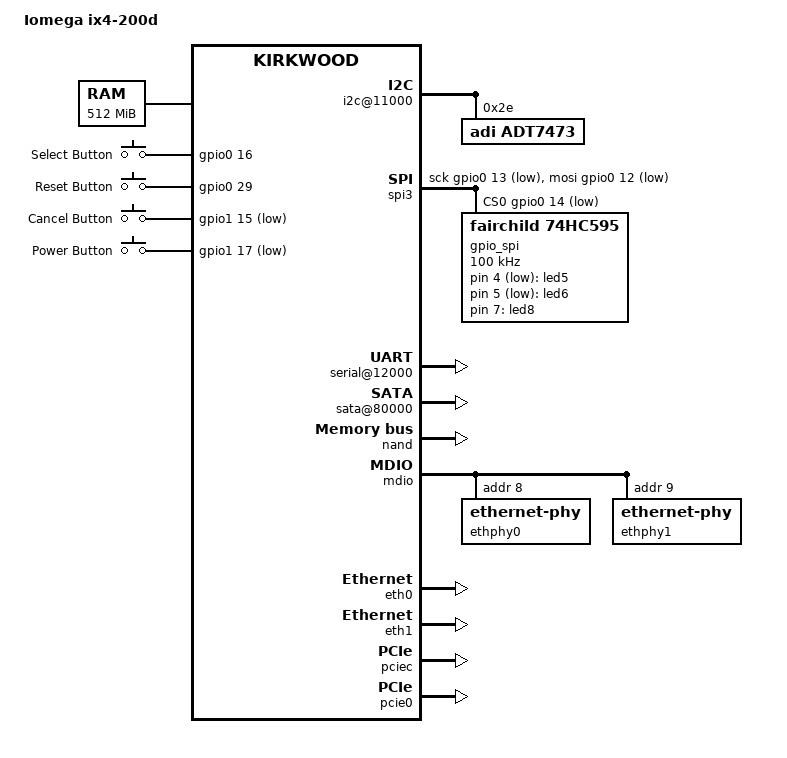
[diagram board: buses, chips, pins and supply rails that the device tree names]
/*
 *  Device tree file for the Iomega ix4-200d
 *
 * Copyright (c) 2016, bodhi <mibodhi at gmail.com>
 * Copyright (c) 2015, DaMacc
 *
*/

/dts-v1/;

#include <dt-bindings/input/input.h>
#include <dt-bindings/gpio/gpio.h>
#include "kirkwood.dtsi"      
#include "kirkwood-6281.dtsi" 

/ {
	model = "Iomega ix4-200d";
	compatible = "marvell,rd88f6281-a", "marvell,rd88f6281", "marvell,kirkwood-88f6281", "marvell,kirkwood";

memory {                                    
        device_type = "memory";             
        reg = <0x00000000 0x20000000>;      
};                                          
                                            
chosen {                                    
        bootargs = "console=ttyS0,115200n8 earlyprintk";
        stdout-path = &uart0;               
};                                          
                                            
ocp@f1000000 {
	pinctrl: pin-controller@10000
	{
		spi_pin1: spi-pin1
		{
			marvell,pins = "mpp12";
			marvell,function = "gpio";
		};

		spi_pin2: spi-pin2
                {
                        marvell,pins = "mpp13";
                        marvell,function = "gpio";
                };

		select_button_pin: select-button-pin
                {
                        marvell,pins = "mpp16";
                        marvell,function = "gpio";
                };

		reset_button_pin: reset-button-pin
                {
                        marvell,pins = "mpp29";
                        marvell,function = "gpio";
                };

		cancel_button_pin: cancel-button-pin
                {
                        marvell,pins = "mpp47";
                        marvell,function = "gpio";
                };

		power_button_pin: power-button-pin
                {
                        marvell,pins = "mpp49";
                        marvell,function = "gpio";
                };
	};

	i2c@11000 {                                
		status = "okay";                   
						   
		adt7473@2e {                       
			compatible = "adi,adt7473";
			reg = <0x2e>;              
		};                                 
	};

	spi3 {
		compatible = "spi-gpio";
		status = "okay";
		gpio-sck = <&gpio0 13 GPIO_ACTIVE_LOW>;
		gpio-mosi = <&gpio0 12 GPIO_ACTIVE_LOW>;
		cs-gpios = <&gpio0 14 GPIO_ACTIVE_LOW>;
		num-chipselects = <1>;
		#address-cells = <1>;
		#size-cells = <0>;

		gpio_spi: gpio_spi@0 {
			compatible = "fairchild,74hc595";
			gpio-controller;
			#gpio-cells = <2>;
			reg = <0>;
			registers-number = <1>;
			spi-max-frequency = <100000>;
		};
	};                           


	gpio-leds {
		compatible = "gpio-leds";

	//	led1 {
	//		label = "led1";
	//		gpios = <&gpio_spi 0 GPIO_ACTIVE_LOW>;
	//		default-state = "off";
	//	};

	//	led2 {
        //                label = "led2";
        //                gpios = <&gpio_spi 1 GPIO_ACTIVE_LOW>;
        //                default-state = "off";
        //        };

	//	led3 {
        //                label = "led3";
        //                gpios = <&gpio_spi 2 GPIO_ACTIVE_LOW>;
        //                default-state = "off";
        //        };

	//	led4 {
        //                label = "led4";
        //                gpios = <&gpio_spi 3 GPIO_ACTIVE_LOW>;
        //                default-state = "off";
        //        };

	//top white, or red?
		led5 {
                        label = "led5";
                        gpios = <&gpio_spi 4 GPIO_ACTIVE_LOW>;
                        default-state = "off";
                };

		led6 {
                        label = "led6";
                        gpios = <&gpio_spi 5 GPIO_ACTIVE_LOW>;
                        default-state = "off";
                };

	//	led7 {
        //                label = "led7";
        //                gpios = <&gpio_spi 6 GPIO_ACTIVE_HIGH>;
        //                default-state = "off";
        //        };

		led8 {
                        label = "led8";
                        gpios = <&gpio_spi 7 GPIO_ACTIVE_HIGH>;
                        default-state = "on";
                };
	};              

	gpio-keys {
                compatible = "gpio-keys";
                pinctrl-0 = <&power_button_pin &select_button_pin &cancel_button_pin &reset_button_pin>;
                pinctrl-names = "default";

                select-button {
                        label = "Select Button";
                        linux,code = <KEY_OPTION>;
                        gpios = <&gpio0 16 GPIO_ACTIVE_HIGH>;
                };

		reset-button {
                        label = "Reset Button";
                        linux,code = <KEY_PROG1>;
                        gpios = <&gpio0 29 GPIO_ACTIVE_HIGH>;
                };

                cancel-button {
                        label = "Cancel Button";
                        linux,code = <KEY_PROG2>;
                        gpios = <&gpio1 15 GPIO_ACTIVE_LOW>;
                };

                power-button {
                        label = "Power Button";
                        linux,code = <KEY_ESC>;
                        gpios = <&gpio1 17 GPIO_ACTIVE_LOW>;
                };
	};
	
        serial@12000 {                               
                status = "ok";                       
        };                                           
                                                     
        sata@80000 {                                 
                status = "okay";
		//status = "disabled";                     
                nr-ports = <4>;                      
        };                                           
                                                     
};

};

&nand {
        chip-delay = <40>;
        status = "okay";

        partition@0 {
                label = "u-boot";
                reg = <0x00000000 0x000a0000>;
                read-only;
        };

        partition@a0000 {
                label = "env";
                reg = <0x000a0000 0x00010000>;
        };

	partition@b0000 {
                label = "zImage";
                reg = <0x000b0000 0x00228000>;
        };

	partition@2d8000 {
                label = "initrd";
                reg = <0x002d8000 0x00300000>;
        };

        //partition@0500000 {
        //        label = "rootfs";
        //        reg = <0x0500000 0x2000000>;
        //};
//0x000000000000-0x0000000a0000 : "uboot"
//0x0000000a0000-0x0000000b0000 : "env"
//0x0000000b0000-0x0000002d8000 : "zImage"
//0x0000002d8000-0x0000005d8000 : "initrd"
//0x000000000000-0x000002000000 : "flash"
};

&mdio {
	status = "okay";

	ethphy0: ethernet-phy@8 {
		device_type = "ethernet-phy";
		reg = <8>;
	};

	ethphy1: ethernet-phy@9 {
		device_type = "ethernet-phy";
		reg = <9>;
	};
};

&eth0 {
	status = "okay";
	ethernet0-port@0 {
		phy-handle = <&ethphy0>;
	};
};

&eth1 {
	status = "okay";
	ethernet1-port@0 {
		phy-handle = <&ethphy1>;
	};
};

&pciec {
	status = "okay";
};

&pcie0 {
	status = "okay";
};


